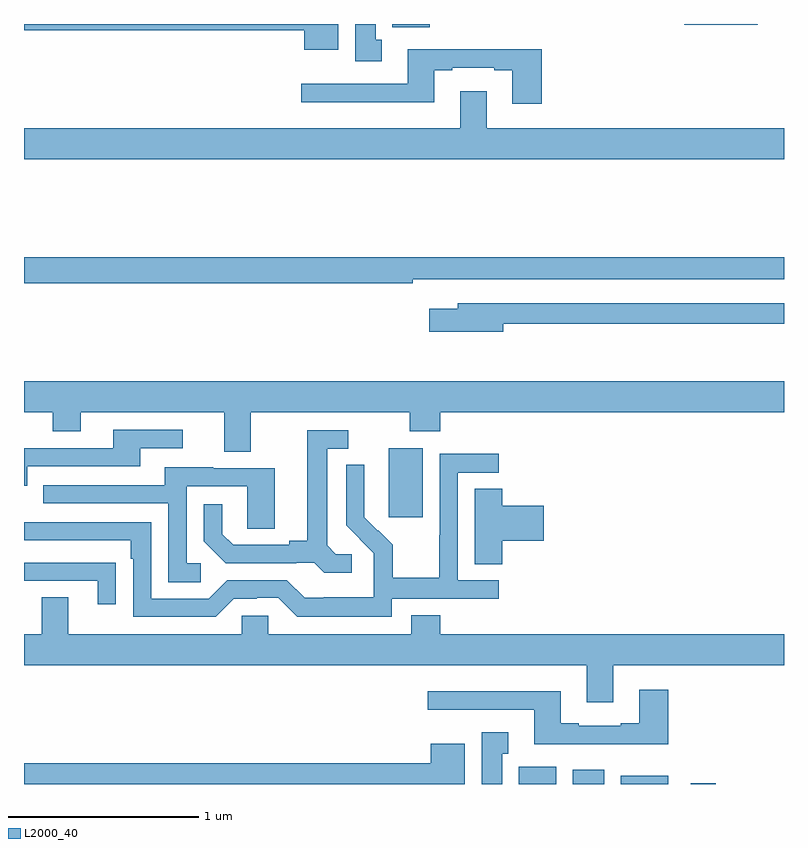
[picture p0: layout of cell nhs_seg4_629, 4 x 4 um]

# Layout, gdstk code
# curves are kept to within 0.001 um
import gdstk
lib = gdstk.Library(unit=1e-6, precision=1e-09)
def R(c, l, rs):  # rectangles x0, y0, x1, y1
    for r in rs: c.add(gdstk.rectangle(r[:2], r[2:], *l))
def P(c, l, *ps):  # polygons
    for p in ps: c.add(gdstk.Polygon(p, *l))
L2000_40 = (2000, 40)

nhs_seg4_629 = lib.new_cell('nhs_seg4_629')
R(nhs_seg4_629, L2000_40, [(145.604,758.9,145.801,758.992), (145.889,758.9,146.053,758.974), (146.141,758.9,146.392,758.944), (146.508,758.9,146.641,758.903), (144.92,760.305,145.099,760.666), (144.938,762.884,145.135,762.9), (146.474,762.896,146.863,762.9)])
P(nhs_seg4_629, L2000_40, [(144.655,762.9),(143,762.9),(143,762.868),(144.476,762.868),(144.476,762.764),(144.655,762.764)],
  [(144.883,762.818),(144.85,762.818),(144.85,762.9),(144.743,762.9),(144.743,762.705),(144.883,762.705)],
  [(145.724,762.766),(145.019,762.766),(145.019,762.585),(144.459,762.585),(144.459,762.488),(145.159,762.488),(145.159,762.657),(145.255,762.657),(145.255,762.669),(145.475,762.669),(145.475,762.657),(145.571,762.657),(145.571,762.48),(145.724,762.48)],
  [(147,762.352),(145.435,762.352),(145.435,762.547),(145.295,762.547),(145.295,762.352),(143,762.352),(143,762.188),(147,762.188)],
  [(145.046,761.556),(147,761.556),(147,761.672),(143,761.672),(143,761.536),(145.046,761.536)],
  [(145.522,761.322),(147,761.322),(147,761.43),(145.283,761.43),(145.283,761.401),(145.134,761.401),(145.134,761.279),(145.522,761.279)],
  [(144.193,760.856),(145.03,760.856),(145.03,760.757),(145.19,760.757),(145.19,760.856),(147,760.856),(147,761.02),(143,761.02),(143,760.856),(143.152,760.856),(143.152,760.757),(143.299,760.757),(143.299,760.856),(144.053,760.856),(144.053,760.648),(144.193,760.648)],
  [(143.016,760.572),(143.611,760.572),(143.611,760.668),(143.836,760.668),(143.836,760.764),(143.471,760.764),(143.471,760.668),(143,760.668),(143,760.469),(143.016,760.469)],
  [(144.724,760.11),(144.642,760.11),(144.595,760.157),(144.595,760.665),(144.706,760.665),(144.706,760.761),(144.491,760.761),(144.491,760.181),(144.395,760.181),(144.395,760.158),(144.1,760.158),(144.043,760.215),(144.043,760.372),(143.946,760.372),(143.946,760.178),(144.062,760.062),(144.434,760.062),(144.434,760.065),(144.528,760.065),(144.58,760.013),(144.724,760.013)],
  [(144.936,759.876),(145.498,759.876),(145.498,759.972),(145.284,759.972),(145.284,760.539),(145.498,760.539),(145.498,760.638),(145.188,760.638),(145.188,760.208),(145.186,760.208),(145.186,759.985),(144.941,759.985),(144.941,760.159),(144.864,760.236),(144.861,760.233),(144.791,760.304),(144.792,760.58),(144.696,760.58),(144.696,760.262),(144.842,760.114),(144.842,760.017),(144.84,760.017),(144.84,759.883),(144.577,759.883),(144.577,759.879),(144.477,759.879),(144.384,759.972),(144.069,759.972),(143.973,759.876),(143.67,759.876),(143.67,760.278),(143,760.278),(143,760.182),(143.561,760.182),(143.561,760.085),(143.574,760.085),(143.574,759.78),(144.009,759.78),(144.105,759.876),(144.224,759.876),(144.224,759.879),(144.339,759.879),(144.439,759.779),(144.936,759.779)],
  [(143.929,760.062),(143.856,760.062),(143.856,760.467),(144.174,760.467),(144.174,760.243),(144.319,760.243),(144.319,760.563),(143.995,760.563),(143.995,760.567),(143.741,760.567),(143.741,760.473),(143.101,760.473),(143.101,760.377),(143.76,760.377),(143.76,759.961),(143.929,759.961)],
  [(145.517,760.181),(145.735,760.181),(145.735,760.364),(145.517,760.364),(145.517,760.454),(145.373,760.454),(145.373,760.057),(145.517,760.057)],
  [(143.483,760.064),(143.381,760.064),(143.381,760.065),(143,760.065),(143,759.969),(143.387,759.969),(143.387,759.846),(143.483,759.846)],
  [(146.101,759.524),(147,759.524),(147,759.688),(145.19,759.688),(145.19,759.787),(145.037,759.787),(145.037,759.688),(144.285,759.688),(144.285,759.786),(144.147,759.786),(144.147,759.688),(143.233,759.688),(143.233,759.883),(143.093,759.883),(143.093,759.688),(143,759.688),(143,759.524),(145.961,759.524),(145.961,759.33),(146.101,759.33)],
  [(146.39,759.397),(146.237,759.397),(146.237,759.22),(146.141,759.22),(146.141,759.207),(145.921,759.207),(145.921,759.22),(145.825,759.22),(145.825,759.388),(145.125,759.388),(145.125,759.291),(145.685,759.291),(145.685,759.11),(146.39,759.11)],
  [(145.516,759.059),(145.549,759.059),(145.549,759.172),(145.409,759.172),(145.409,758.9),(145.516,758.9)],
  [(145.321,759.112),(145.142,759.112),(145.142,759.008),(143,759.008),(143,758.9),(145.321,758.9)])

lib.write_gds('nhs_seg4_629.gds')
